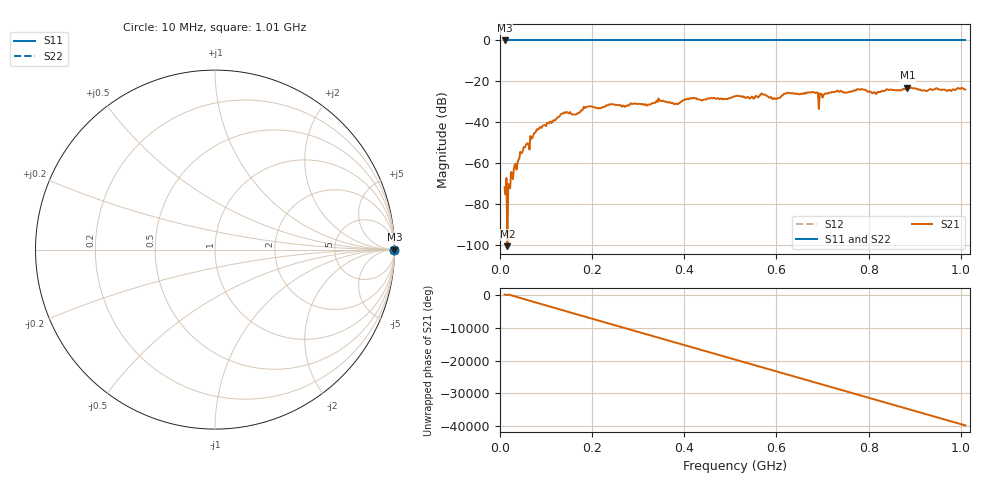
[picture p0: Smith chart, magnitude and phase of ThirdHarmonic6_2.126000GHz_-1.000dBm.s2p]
! 8/17/2025 1:24:48 AM
! C:\ANRITSUVNA\TEMP\TEMP.S2P
! CHANNEL.1
! TR.MEASUREMENT
! RAW.DATA
! RF.CORRECTION.OFF
! AVERAGING.OFF
! IF.BANDWIDTH: 5KHZ
! SWEEPTYPE:  FREQ.SWEEP(Linear)
! Reference Plane Port Info
! PORT:  PORT1  PORT2
! DISTANCE:  0  m  0  m
! TIME:  0  s  0  s
! PHASE.OFFSET:  0  deg.  0  deg.
! LOSS:  0  dB  0  dB
! REF.LOSS:  0  dB  0  dB
! REF.FREQ:  0  Hz  0  Hz
! Power Info
! POWER:  -20  dBm  -20  dBm
! EFF.POWER:  -20  dBm  -20  dBm
! SOURCE.ATTEN:  0  dB  0  dB
! TEST.ATTEN:  0  dB  0  dB
# GHZ S RI R 50.0
! FREQ.GHZ  S11RE  S11IM  S21RE  S21IM  S12RE  S12IM  S22RE  S22IM
!; PortSelection: Port_12
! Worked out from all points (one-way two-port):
!   501 points, 10 MHz to 1.01 GHz, reference 50 ohm
!   highest |S21| = -23.03 dB at 884 MHz (marker M1); lowest = -100.7 dB at 16 MHz (marker M2)
!   lowest |S11| = 0.0 dB at 10 MHz (marker M3)
!   |S11| at or under -10 dB: nowhere
!   |S22| runs from 0.0 to 0.0 dB; largest |S21 - S12| = 1.1
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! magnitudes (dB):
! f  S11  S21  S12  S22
! 10 MHz  0.0  -71.8  0.0  0.0
! 16 MHz  0.0  -100.7  0.0  0.0
! 20 MHz  0.0  -71.1  0.0  0.0
! 28 MHz  0.0  -67.9  0.0  0.0
! 48 MHz  0.0  -55.0  0.0  0.0
! 78 MHz  0.0  -44.6  0.0  0.0
! 136 MHz  0.0  -35.8  0.0  0.0
! 162 MHz  0.0  -36.3  0.0  0.0
! 178 MHz  0.0  -34.2  0.0  0.0
! 344 MHz  0.0  -28.4  0.0  0.0
! 382 MHz  0.0  -30.9  0.0  0.0
! 416 MHz  0.0  -28.5  0.0  0.0
! 510 MHz  0.0  -27.3  0.0  0.0
! 570 MHz  0.0  -26.4  0.0  0.0
! 596 MHz  0.0  -28.2  0.0  0.0
! 622 MHz  0.0  -25.8  0.0  0.0
! 678 MHz  0.0  -25.3  0.0  0.0
! 696 MHz  0.0  -26.1  0.0  0.0
! 730 MHz  0.0  -24.7  0.0  0.0
! 844 MHz  0.0  -24.3  0.0  0.0
! 884 MHz  0.0  -23.0  0.0  0.0
! 1.01 GHz  0.0  -24.0  0.0  0.0
